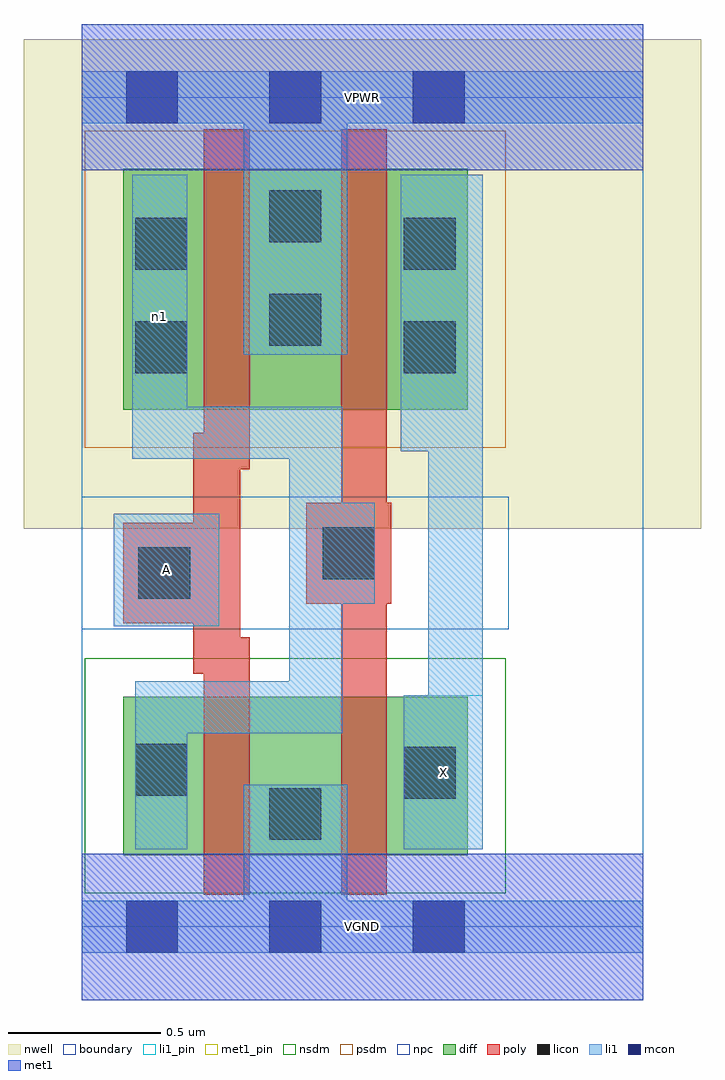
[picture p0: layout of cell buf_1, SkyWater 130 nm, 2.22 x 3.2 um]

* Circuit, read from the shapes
.subckt buf_1 A VGND VPWR X n1
XM1 VGND A n1 VSUBS sky130_fd_pr__nfet_01v8 w=0.52 l=0.15
XM2 X n1 VGND VSUBS sky130_fd_pr__nfet_01v8 w=0.52 l=0.15
XM3 VPWR A n1 n2 sky130_fd_pr__pfet_01v8 w=0.79 l=0.15
XM4 X n1 VPWR n2 sky130_fd_pr__pfet_01v8 w=0.79 l=0.15
.ends

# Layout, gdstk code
import gdstk
lib = gdstk.Library(unit=1e-6, precision=1e-09)
def R(c, l, rs):  # rectangles x0, y0, x1, y1
    for r in rs: c.add(gdstk.rectangle(r[:2], r[2:], *l))
def A(c, l, x, y, w, h, nx, ny, dx, dy):  # array of equal rectangles
    R(c, l, [(x+i*dx, y+j*dy, x+i*dx+w, y+j*dy+h) for i in range(nx) for j in range(ny)])
nwell = (64, 20)
diff = (65, 20)
poly = (66, 20)
licon = (66, 44)
li1_pin = (67, 16)
li1 = (67, 20)
mcon = (67, 44)
met1_pin = (68, 16)
met1 = (68, 20)
nsdm = (93, 44)
psdm = (94, 20)
npc = (95, 20)
boundary = (235, 4)

buf_1 = lib.new_cell('buf_1')
R(buf_1, nwell, [(-0.19,1.305,2.03,2.91), (0,1.305,1.84,2.91)])
R(buf_1, diff, [(0.135,0.235,1.265,0.755), (0.135,1.695,1.265,2.485)])
R(buf_1, poly, [(0.4,0.105,0.52,2.615), (0.4,0.105,0.55,0.95), (0.85,0.105,1,2.615), (0.365,0.83,0.52,1.62), (0.135,0.995,0.52,1.325), (0.735,1.06,1.015,1.39), (0.4,1.5,0.55,2.615)])
R(buf_1, licon, [(0.615,0.285,0.785,0.455), (1.055,0.42,1.225,0.59), (0.175,0.43,0.345,0.6), (0.185,1.075,0.355,1.245), (0.79,1.14,0.96,1.31), (0.175,1.815,0.345,1.985), (1.055,1.815,1.225,1.985), (0.615,1.905,0.785,2.075), (0.175,2.155,0.345,2.325), (1.055,2.155,1.225,2.325), (0.615,2.245,0.785,2.415)])
R(buf_1, li1_pin, [(1.055,0.255,1.315,0.76), (0.105,0.985,0.45,1.355)])
R(buf_1, li1, [(0,-0.085,1.84,0.085), (0.53,-0.085,0.87,0.465), (0.175,0.255,0.345,0.805), (1.055,0.255,1.315,0.76), (1.135,0.255,1.315,2.465), (0.175,0.635,0.855,0.805), (0.68,0.635,0.855,1.705), (0.105,0.985,0.45,1.355), (0.68,1.06,0.96,1.39), (0.165,1.535,0.345,2.465), (0.165,1.535,0.855,1.705), (1.045,1.56,1.315,2.465), (0.53,1.875,0.87,2.805), (0,2.635,1.84,2.805)])
A(buf_1, mcon, 0.145, -0.085, 0.17, 0.17, 3, 2, 0.47, 2.72)
R(buf_1, met1_pin, [(0,-0.24,1.84,0.24), (0,2.48,1.84,2.96)])
R(buf_1, met1, [(0,-0.24,1.84,0.24), (0,2.48,1.84,2.96)])
R(buf_1, nsdm, [(0.01,0.11,1.39,0.88)])
R(buf_1, psdm, [(0.01,1.57,1.39,2.61)])
R(buf_1, npc, [(0,0.975,1.4,1.41)])
R(buf_1, boundary, [(0,0,1.84,2.72)])
buf_1.add(gdstk.Label('A', (0.277,1.17), layer=67, texttype=5))
buf_1.add(gdstk.Label('X', (1.185,0.507), layer=67, texttype=5))
buf_1.add(gdstk.Label('n1', (0.255,2), layer=67, texttype=5))
buf_1.add(gdstk.Label('VPWR', (0.92,2.72), layer=68, texttype=5))
buf_1.add(gdstk.Label('VGND', (0.92,0), layer=68, texttype=5))
buf_1.add(gdstk.Label('A', (0.277,1.17), layer=67, texttype=16))
buf_1.add(gdstk.Label('X', (1.185,0.507), layer=67, texttype=16))
buf_1.add(gdstk.Label('VPWR', (0.92,2.72), layer=68, texttype=16))
buf_1.add(gdstk.Label('VGND', (0.92,0), layer=68, texttype=16))

lib.write_gds('buf_1.gds')
